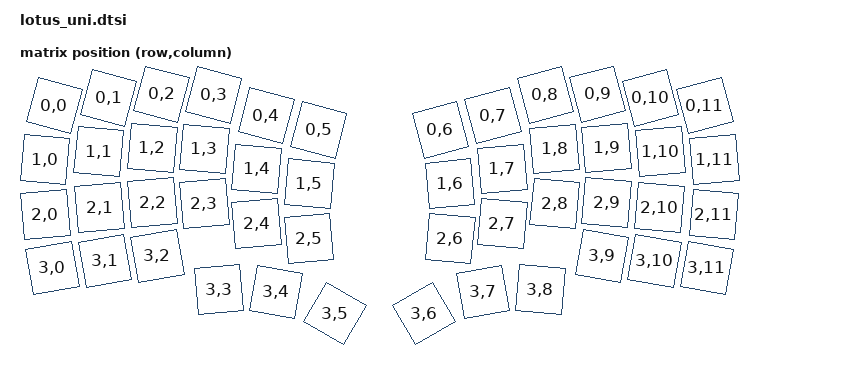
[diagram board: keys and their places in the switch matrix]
#include <dt-bindings/zmk/matrix_transform.h>
#include <physical_layouts.dtsi>

/ {
	chosen{
		zmk,physical-layout = &physical_layout0;
		zmk,kscan = &kscan0;
	};

    physical_layout0: physical_layout0 {
		compatible = "zmk,physical-layout";
		display-name = "Default";
		transform = <&default_transform>;
		        
        keys
            //                w   h    x    y    rot    rx    ry
            = <&key_physical_attrs 100 100    5   37    1500    50   163>  /* R0C0  */
            , <&key_physical_attrs 100 100  122   18    1500   150   113>  /* R0C1  */
            , <&key_physical_attrs 100 100  213   11    1500   250   163>  /* R0C2  */
            , <&key_physical_attrs 100 100  321   11    1500   350   150>  /* R0C3  */
            , <&key_physical_attrs 100 100  449   57    1500   487   106>  /* R0C4  */
            , <&key_physical_attrs 100 100  536   78    1500   550   200>  /* R0C5  */
            , <&key_physical_attrs 100 100  814   78  (-1500)  900   200>  /* R0C6  */
            , <&key_physical_attrs 100 100  901   57  (-1500)  963   106>  /* R0C7  */
            , <&key_physical_attrs 100 100 1029   11  (-1500) 1100   150>  /* R0C8  */
            , <&key_physical_attrs 100 100 1137   11  (-1500) 1200   163>  /* R0C9  */
            , <&key_physical_attrs 100 100 1228   18  (-1500) 1300   113>  /* R0C10 */
            , <&key_physical_attrs 100 100 1345   37  (-1500) 1400   163>  /* R0C11 */

            , <&key_physical_attrs 100 100    0  148     500    50   263>  /* R1C0  */
            , <&key_physical_attrs 100 100  111  132     500   150   213>  /* R1C1  */
            , <&key_physical_attrs 100 100  213  124     500   250   263>  /* R1C2  */
            , <&key_physical_attrs 100 100  325  124     500   334   169>  /* R1C3  */
            , <&key_physical_attrs 100 100  430  166     500   463   209>  /* R1C4  */
            , <&key_physical_attrs 100 100  536  194     500   547   225>  /* R1C5  */
            , <&key_physical_attrs 100 100  814  194   (-500)  903   225>  /* R1C6  */
            , <&key_physical_attrs 100 100  920  166   (-500)  987   209>  /* R1C7  */
            , <&key_physical_attrs 100 100 1025  124   (-500) 1116   169>  /* R1C8  */
            , <&key_physical_attrs 100 100 1137  124   (-500) 1200   263>  /* R1C9  */
            , <&key_physical_attrs 100 100 1239  132   (-500) 1300   213>  /* R1C10 */
            , <&key_physical_attrs 100 100 1350  148   (-500) 1400   263>  /* R1C11 */

            , <&key_physical_attrs 100 100    6  258   (-500)   60   306>  /* R2C0  */
            , <&key_physical_attrs 100 100  115  244   (-500)  168   289>  /* R2C1  */
            , <&key_physical_attrs 100 100  221  234   (-500)  278   283>  /* R2C2  */
            , <&key_physical_attrs 100 100  324  237   (-500)  375   283>  /* R2C3  */
            , <&key_physical_attrs 100 100  429  277   (-500)  480   324>  /* R2C4  */
            , <&key_physical_attrs 100 100  534  307   (-500)  583   357>  /* R2C5  */
            , <&key_physical_attrs 100 100  816  307     500   867   357>  /* R2C6  */
            , <&key_physical_attrs 100 100  921  277     500   970   324>  /* R2C7  */
            , <&key_physical_attrs 100 100 1026  237     500  1075   283>  /* R2C8  */
            , <&key_physical_attrs 100 100 1129  234     500  1172   283>  /* R2C9  */
            , <&key_physical_attrs 100 100 1235  244     500  1282   289>  /* R2C10 */
            , <&key_physical_attrs 100 100 1344  258     500  1390   306>  /* R2C11 */

            , <&key_physical_attrs 100 100   20  365  (-1000)   70   411>  /* R3C0  */
            , <&key_physical_attrs 100 100  127  352  (-1000)  170   411>  /* R3C1  */
            , <&key_physical_attrs 100 100  234  343  (-1000)  270   411>  /* R3C2  */
            , <&key_physical_attrs 100 100  353  407   (-500)  425   450>  /* R3C3  */
            , <&key_physical_attrs 100 100  470  414    1000   525   450>  /* R3C4  */
            , <&key_physical_attrs 100 100  550  506  (-6000)  575   500>  /* R3C5  */
            , <&key_physical_attrs 100 100  800  506    6000   875   500>  /* R3C6  */
            , <&key_physical_attrs 100 100  880  414  (-1000)  925   450>  /* R3C7  */
            , <&key_physical_attrs 100 100  997  407     500  1025   450>  /* R3C8  */
            , <&key_physical_attrs 100 100 1116  343    1000  1180   411>  /* R3C9  */
            , <&key_physical_attrs 100 100 1223  352    1000  1280   411>  /* R3C10 */
            , <&key_physical_attrs 100 100 1330  365    1000  1380   411>  /* R3C11 */
            ;
    };

    default_transform: keymap_transform_0 {
        compatible = "zmk,matrix-transform";
        columns = <12>;
        rows = <4>;
        map = <
            RC(0,0)  RC(0,1)  RC(0,2)  RC(0,3)  RC(0,4)  RC(0,5)  RC(0,6)  RC(0,7)  RC(0,8)  RC(0,9)  RC(0,10) RC(0,11)
            RC(1,0)  RC(1,1)  RC(1,2)  RC(1,3)  RC(1,4)  RC(1,5)  RC(1,6)  RC(1,7)  RC(1,8)  RC(1,9)  RC(1,10) RC(1,11)
            RC(2,0)  RC(2,1)  RC(2,2)  RC(2,3)  RC(2,4)  RC(2,5)  RC(2,6)  RC(2,7)  RC(2,8)  RC(2,9)  RC(2,10) RC(2,11)
            RC(3,0)  RC(3,1)  RC(3,2)  RC(3,3)  RC(3,4)  RC(3,5)  RC(3,6)  RC(3,7)  RC(3,8)  RC(3,9)  RC(3,10) RC(3,11)
        >;
    };

    kscan0: kscan_0 {
        wakeup-source;
        diode-direction = "col2row";
    };
};
